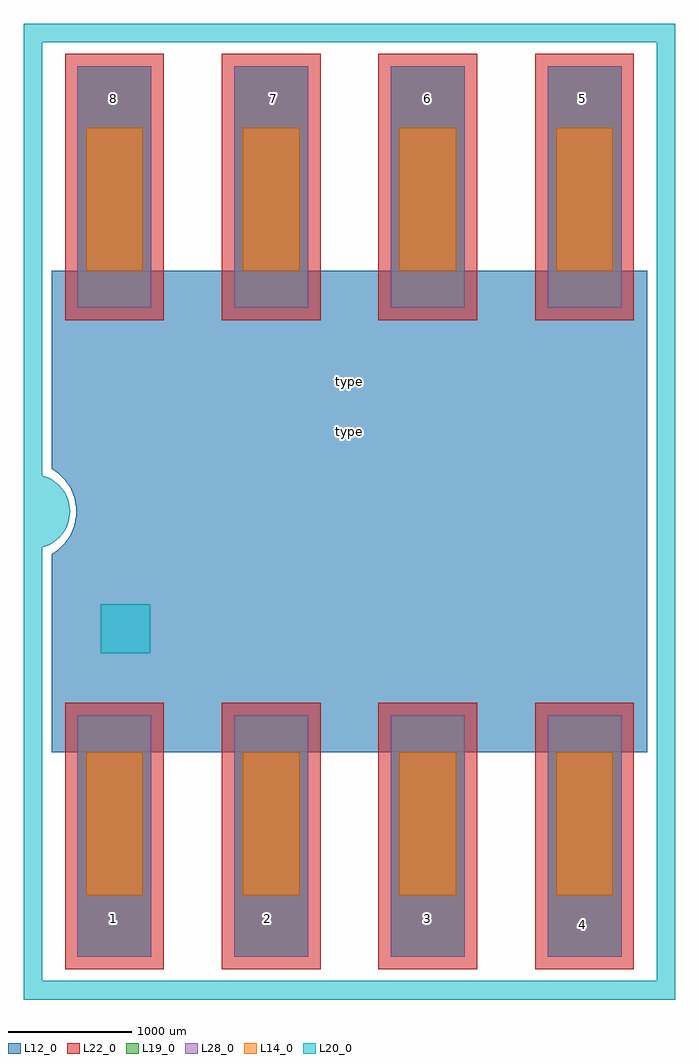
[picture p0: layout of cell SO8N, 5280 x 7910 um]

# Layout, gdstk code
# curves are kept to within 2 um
import gdstk
lib = gdstk.Library(unit=1e-6, precision=1e-09)
def R(c, l, rs):  # rectangles x0, y0, x1, y1
    for r in rs: c.add(gdstk.rectangle(r[:2], r[2:], *l))
def A(c, l, x, y, w, h, nx, ny, dx, dy):  # array of equal rectangles
    R(c, l, [(x+i*dx, y+j*dy, x+i*dx+w, y+j*dy+h) for i in range(nx) for j in range(ny)])
def P(c, l, *ps):  # polygons
    for p in ps: c.add(gdstk.Polygon(p, *l))
L12_0 = (12, 0)
L14_0 = (14, 0)
L19_0 = (19, 0)
L20_0 = (20, 0)
L22_0 = (22, 0)
L28_0 = (28, 0)

so8n = lib.new_cell('SO8N')
P(so8n, L12_0, [(4830.005,3900.005),(0,3900.005),(0,2296.413),(29.431,2277.664),(82.843,2232.846),(127.661,2179.434),(146.41,2150.003),(175.877,2086.811),(186.37,2053.531),(198.478,1984.865),(200,1950.003),(198.478,1915.141),(186.37,1846.475),(175.877,1813.195),(146.41,1750.003),(127.661,1720.572),(82.843,1667.16),(29.431,1622.342),(0,1603.593),(0,0),(4830.005,0)])
A(so8n, L14_0, 280, -1160, 460, 1160, 4, 2, 1270, 5060)
A(so8n, L19_0, 210, -1660, 600, 1960, 4, 2, 1270, 5260)
R(so8n, L20_0, [(400,800,800,1200)])
P(so8n, L20_0, [(-150,2250),(-150,1650),(-97.906,1654.558),(-47.394,1668.092),(0,1690.192),(22.073,1704.254),(62.132,1737.868),(95.746,1777.927),(109.808,1800),(131.908,1847.394),(145.442,1897.906),(150,1950),(145.442,2002.094),(131.908,2052.606),(109.808,2100),(95.746,2122.073),(62.132,2162.132),(22.073,2195.746),(0,2209.808),(-47.394,2231.908),(-97.906,2245.442)])
A(so8n, L22_0, 110, -1760, 800, 2160, 4, 2, 1270, 5260)
A(so8n, L28_0, 210, -1660, 600, 1960, 4, 2, 1270, 5260)
so8n.add(gdstk.FlexPath([(-150,5755),(-150,-1930),(4980,-1930),(4980,5830),(-225,5830)], 150, ends="flush", simple_path=True, layer=20, datatype=0))  # L20_0
so8n.add(gdstk.Label('8', (500,5300), layer=28, texttype=0))
so8n.add(gdstk.Label('7', (1800,5300), layer=28, texttype=0))
so8n.add(gdstk.Label('6', (3050,5300), layer=28, texttype=0))
so8n.add(gdstk.Label('5', (4300,5300), layer=28, texttype=0))
so8n.add(gdstk.Label('4', (4300,-1400), layer=28, texttype=0))
so8n.add(gdstk.Label('3', (3050,-1350), layer=28, texttype=0))
so8n.add(gdstk.Label('2', (1750,-1350), layer=28, texttype=0))
so8n.add(gdstk.Label('1', (500,-1350), layer=28, texttype=0))
so8n.add(gdstk.Label('type', (2415,2600), layer=10, texttype=0))
so8n.add(gdstk.Label('type', (2415,3000), layer=20, texttype=0))
so8n.add(gdstk.Label('devicename', (-600,2000), layer=20, texttype=0))

lib.write_gds('SO8N.gds')
